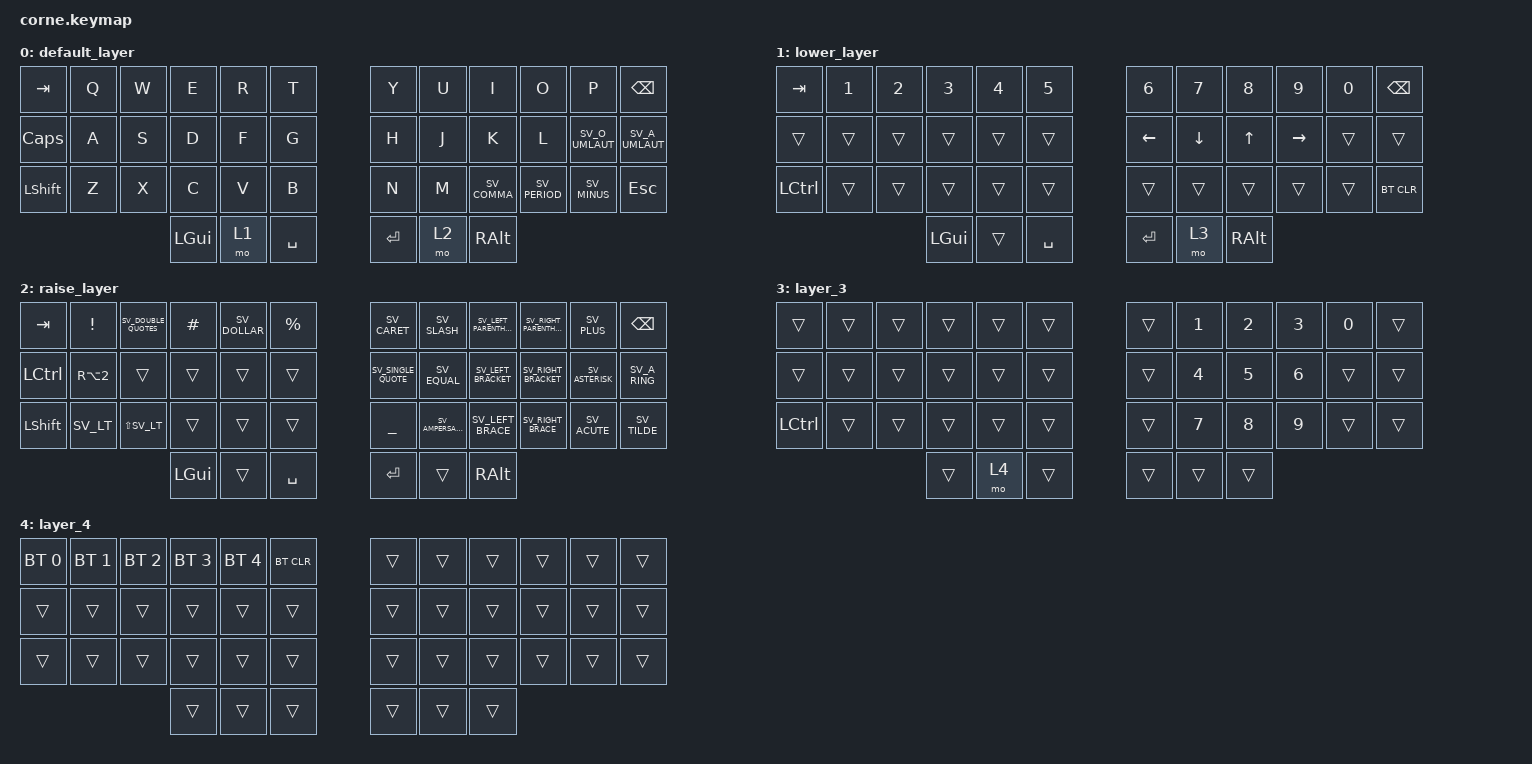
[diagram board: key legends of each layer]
/*
 * Copyright (c) 2020 The ZMK Contributors
 *
 * SPDX-License-Identifier: MIT
 */

#include "keys_sv.h"
#include <behaviors.dtsi>
#include <dt-bindings/zmk/bt.h>
#include <dt-bindings/zmk/keys.h>

/ {
    keymap {
        compatible = "zmk,keymap";

        default_layer {
            // -----------------------------------------------------------------------------------------
            // |  TAB |  Q  |  W  |  E  |  R  |  T  |   |  Y  |  U   |  I  |  O  |  P  | BSPC |
            // | CTRL |  A  |  S  |  D  |  F  |  G  |   |  H  |  J   |  K  |  L  |  ;  |  '   |
            // | SHFT |  Z  |  X  |  C  |  V  |  B  |   |  N  |  M   |  ,  |  .  |  /  | ESC  |
            //                    | GUI | LWR | SPC |   | ENT | RSE  | ALT |

            bindings = <
&kp TAB       &kp Q  &kp W  &kp E     &kp R  &kp T        &kp Y    &kp U  &kp I         &kp O          &kp P            &kp BSPC
&kp CAPSLOCK  &kp A  &kp S  &kp D     &kp F  &kp G        &kp H    &kp J  &kp K         &kp L          &kp SV_O_UMLAUT  &kp SV_A_UMLAUT
&kp LSHFT     &kp Z  &kp X  &kp C     &kp V  &kp B        &kp N    &kp M  &kp SV_COMMA  &kp SV_PERIOD  &kp SV_MINUS     &kp ESC
                            &kp LGUI  &mo 1  &kp SPACE    &kp RET  &mo 2  &kp RALT
            >;
        };

        lower_layer {
            // -----------------------------------------------------------------------------------------
            // |  TAB |  1  |  2  |  3  |  4  |  5  |   |  6  |  7  |  8  |  9  |  0  | BSPC |
            // | BTCLR| BT1 | BT2 | BT3 | BT4 | BT5 |   | LFT | DWN |  UP | RGT |     |      |
            // | SHFT |     |     |     |     |     |   |     |     |     |     |     |      |
            //                    | GUI |     | SPC |   | ENT |     | ALT |

            bindings = <
&kp TAB           &kp N1  &kp N2  &kp N3    &kp N4  &kp N5       &kp N6    &kp N7    &kp N8    &kp N9     &kp N0  &kp BSPC
&trans            &trans  &trans  &trans    &trans  &trans       &kp LEFT  &kp DOWN  &kp UP    &kp RIGHT  &trans  &trans
&kp LEFT_CONTROL  &trans  &trans  &trans    &trans  &trans       &trans    &trans    &trans    &trans     &trans  &bt BT_CLR
                                  &kp LGUI  &trans  &kp SPACE    &kp RET   &mo 3     &kp RALT
            >;
        };

        raise_layer {
            // -----------------------------------------------------------------------------------------
            // |  TAB |  !  |  @  |  #  |  $  |  %  |   |  ^  |  &  |  *  |  (  |  )  | BSPC |
            // | CTRL |     |     |     |     |     |   |  -  |  =  |  [  |  ]  |  \  |  `   |
            // | SHFT |     |     |     |     |     |   |  _  |  +  |  {  |  }  | "|" |  ~   |
            //                    | GUI |     | SPC |   | ENT |     | ALT |

            bindings = <
&kp TAB    &kp EXCL          &kp SV_DOUBLE_QUOTES  &kp HASH  &kp SV_DOLLAR  &kp PRCNT    &kp SV_CARET         &kp SV_SLASH      &kp SV_LEFT_PARENTHESIS  &kp SV_RIGHT_PARENTHESIS  &kp SV_PLUS      &kp BSPC
&kp LCTRL  &kp RA(NUMBER_2)  &trans                &trans    &trans         &trans       &kp SV_SINGLE_QUOTE  &kp SV_EQUAL      &kp SV_LEFT_BRACKET      &kp SV_RIGHT_BRACKET      &kp SV_ASTERISK  &kp SV_A_RING
&kp LSHFT  &kp SV_LT         &kp LS(SV_LT)         &trans    &trans         &trans       &kp UNDER            &kp SV_AMPERSAND  &kp SV_LEFT_BRACE        &kp SV_RIGHT_BRACE        &kp SV_ACUTE     &kp SV_TILDE
                                                   &kp LGUI  &trans         &kp SPACE    &kp RET              &trans            &kp RALT
            >;
        };

        layer_3 {
            bindings = <
&trans            &trans  &trans  &trans  &trans  &trans    &trans  &kp N1  &kp N2  &kp N3  &kp N0  &trans
&trans            &trans  &trans  &trans  &trans  &trans    &trans  &kp N4  &kp N5  &kp N6  &trans  &trans
&kp LEFT_CONTROL  &trans  &trans  &trans  &trans  &trans    &trans  &kp N7  &kp N8  &kp N9  &trans  &trans
                                  &trans  &mo 4   &trans    &trans  &trans  &trans
            >;
        };

        layer_4 {
            bindings = <
&bt BT_SEL 0  &bt BT_SEL 1  &bt BT_SEL 2  &bt BT_SEL 3  &bt BT_SEL 4  &bt BT_CLR    &trans  &trans  &trans  &trans  &trans  &trans
&trans        &trans        &trans        &trans        &trans        &trans        &trans  &trans  &trans  &trans  &trans  &trans
&trans        &trans        &trans        &trans        &trans        &trans        &trans  &trans  &trans  &trans  &trans  &trans
                                          &trans        &trans        &trans        &trans  &trans  &trans
            >;
        };
    };
};
